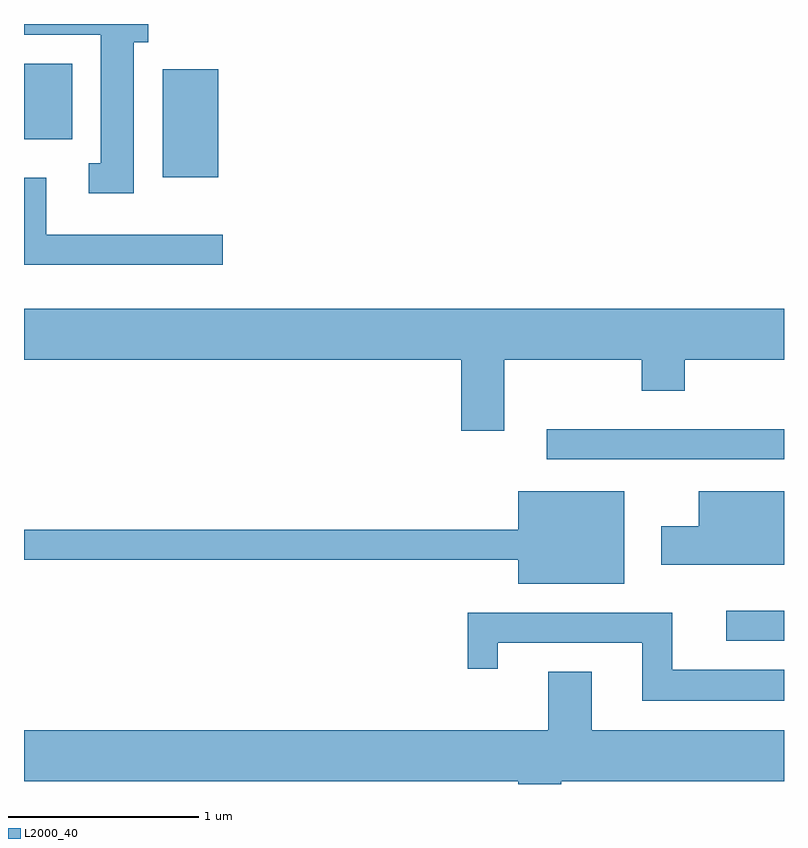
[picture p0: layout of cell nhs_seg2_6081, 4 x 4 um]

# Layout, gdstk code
import gdstk
lib = gdstk.Library(unit=1e-6, precision=1e-09)
def R(c, l, rs):  # rectangles x0, y0, x1, y1
    for r in rs: c.add(gdstk.rectangle(r[:2], r[2:], *l))
def P(c, l, *ps):  # polygons
    for p in ps: c.add(gdstk.Polygon(p, *l))
L2000_40 = (2000, 40)

nhs_seg2_6081 = lib.new_cell('nhs_seg2_6081')
R(nhs_seg2_6081, L2000_40, [(367.308,1104.556,367.611,1104.714), (366.363,1105.511,367.611,1105.669), (364.341,1106.996,364.634,1107.564), (363.611,1107.196,363.864,1107.594)])
P(nhs_seg2_6081, L2000_40, [(364.189,1107.706),(364.264,1107.706),(364.264,1107.802),(363.611,1107.802),(363.611,1107.746),(364.016,1107.746),(364.016,1107.069),(363.953,1107.069),(363.953,1106.911),(364.189,1106.911)],
  [(364.658,1106.694),(363.729,1106.694),(363.729,1106.994),(363.611,1106.994),(363.611,1106.536),(364.658,1106.536)],
  [(366.139,1106.036),(366.861,1106.036),(366.861,1105.871),(367.089,1105.871),(367.089,1106.036),(367.611,1106.036),(367.611,1106.304),(363.611,1106.304),(363.611,1106.036),(365.911,1106.036),(365.911,1105.661),(366.139,1105.661)],
  [(366.769,1105.344),(366.211,1105.344),(366.211,1105.139),(363.611,1105.139),(363.611,1104.981),(366.211,1104.981),(366.211,1104.856),(366.769,1104.856)],
  [(367.611,1105.344),(367.161,1105.344),(367.161,1105.159),(366.966,1105.159),(366.966,1104.956),(367.611,1104.956)],
  [(367.611,1104.404),(367.024,1104.404),(367.024,1104.704),(365.946,1104.704),(365.946,1104.408),(366.104,1104.408),(366.104,1104.546),(366.866,1104.546),(366.866,1104.241),(367.611,1104.241)],
  [(366.439,1103.816),(367.611,1103.816),(367.611,1104.084),(366.599,1104.084),(366.599,1104.394),(366.371,1104.394),(366.371,1104.084),(363.611,1104.084),(363.611,1103.816),(366.211,1103.816),(366.211,1103.802),(366.439,1103.802)])

lib.write_gds('nhs_seg2_6081.gds')
